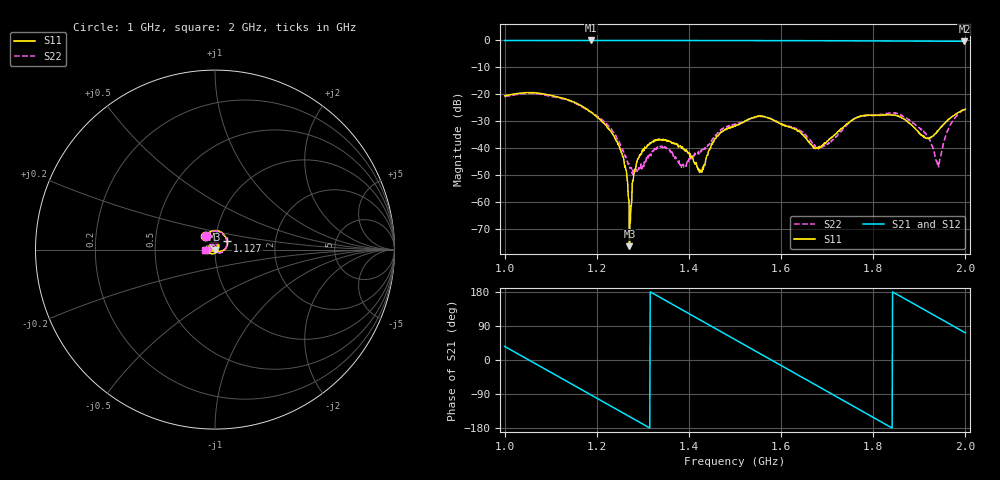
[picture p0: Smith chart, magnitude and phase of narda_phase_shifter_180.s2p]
#  HZ  S  DB  R  50.00
! Rohde & Schwarz Vector Network Analyzer
! Rohde-Schwarz,ZNB8-4Port,1311601044102961,2.82
! Created: UTC 3/4/2022, 4:08:24 PM
! freq[Hz]  db:S11  ang:S11  db:S21  ang:S21  db:S12  ang:S12  db:S22  ang:S22
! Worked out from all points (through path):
!   1001 points, 1 GHz to 2 GHz, reference 50 ohm
!   highest |S21| = -0.20 dB at 1.188 GHz (marker M1); lowest = -0.5 dB at 1.998 GHz (marker M2)
!   group delay of S21, straight-line fit = 1.9 ns
!   lowest |S11| = -76.3 dB at 1.271 GHz (marker M3), VSWR 1.00, Z = 50 - j0.00872 ohm
!   |S11| at or under -10 dB: start of sweep to end of sweep
!   |S22| runs from -50.0 to -19.7 dB; largest |S21 - S12| = 0.0028
!   S11 on the Smith chart (normalised r, x): 1 GHz: 0.89, +0.14; 1.127 GHz: 1.14, +0.11; 2 GHz: 0.90, -0.00
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1e9  -20.63 124.7  -0.22 35.9  -0.21 35.9  -21.04 122.8
1.063e9  -19.50 80.7  -0.24 -7.0  -0.23 -7.0  -19.83 79.2
1.127e9  -21.60 36.1  -0.23 -50.7  -0.22 -50.6  -21.83 33.4
1.167e9  -24.55 6.5  -0.22 -78.0  -0.22 -78.0  -24.65 6.8
1.188e9  -26.80 -5.9  -0.20 -92.4  -0.21 -92.4  -26.80 -11.8
1.25e9  -39.89 -61.9  -0.22 -135.0  -0.21 -134.9  -38.13 -54.3
1.262e9  -46.67 -74.7  -0.21 -143.1  -0.20 -143.1  -43.28 -77.7
1.271e9  -76.27 -34.6  -0.21 -149.3  -0.21 -149.3  -46.76 -108.8
1.291e9  -43.39 79.9  -0.22 -163.0  -0.21 -163.0  -47.21 164.5
1.334e9  -37.05 67.5  -0.22 167.6  -0.21 167.5  -39.81 74.9
1.389e9  -40.57 -8.2  -0.23 129.9  -0.23 130.0  -47.05 -10.1
1.426e9  -48.52 -80.0  -0.24 104.6  -0.23 104.6  -40.88 -81.2
1.458e9  -36.40 -170.1  -0.25 82.7  -0.24 82.8  -35.47 -152.8
1.5e9  -31.83 144.8  -0.25 54.0  -0.24 54.0  -31.10 172.7
1.583e9  -29.66 78.2  -0.27 -2.8  -0.27 -2.8  -29.59 114.6
1.667e9  -38.93 -31.3  -0.28 -60.3  -0.28 -60.3  -38.06 100.9
1.743e9  -30.98 170.7  -0.31 -112.4  -0.30 -112.4  -31.35 153.0
1.834e9  -27.69 87.7  -0.35 -174.8  -0.36 -174.8  -27.03 101.3
1.91e9  -35.58 -11.1  -0.43 133.2  -0.42 133.2  -33.89 31.3
1.941e9  -33.46 -98.3  -0.44 112.1  -0.43 112.1  -45.56 -73.4
1.998e9  -25.81 -177.8  -0.51 73.0  -0.50 73.0  -25.44 -174.0
2e9  -25.63 -178.9  -0.51 71.6  -0.50 71.6  -25.24 -176.0
